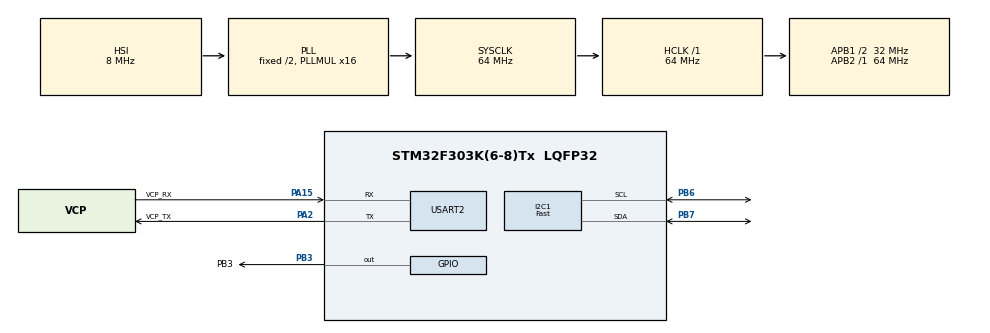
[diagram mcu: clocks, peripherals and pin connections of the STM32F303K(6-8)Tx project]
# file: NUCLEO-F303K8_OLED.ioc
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I2C1.I2C_Speed_Mode=I2C_Fast
I2C1.Timing=0x00602173
Mcu.Family=STM32F3
Mcu.Name=STM32F303K(6-8)Tx
Mcu.Package=LQFP32
NVIC.PriorityGroup=NVIC_PRIORITYGROUP_4
PA13.GPIO_Label=SWDIO
PA13.Mode=Serial_Wire
PA13.Signal=SYS_JTMS-SWDIO
PA14.GPIO_Label=SWCLK
PA14.Mode=Serial_Wire
PA14.Signal=SYS_JTCK-SWCLK
PA15.GPIO_Label=VCP_RX
PA15.Mode=Asynchronous
PA15.Signal=USART2_RX
PA2.GPIO_Label=VCP_TX
PA2.Mode=Asynchronous
PA2.Signal=USART2_TX
PB3.GPIO_Label=PB3
PB3.Signal=GPIO_Output
PB6.GPIO_Pu=GPIO_PULLUP
PB6.Mode=I2C
PB6.Signal=I2C1_SCL
PB7.GPIO_Pu=GPIO_PULLUP
PB7.Mode=I2C
PB7.Signal=I2C1_SDA
PF0\ /\ OSC_IN.GPIO_Label=MCO
PF0\ /\ OSC_IN.Mode=HSE-External-Clock-Source
PF0\ /\ OSC_IN.Signal=RCC_OSC_IN
ProjectManager.HeapSize=0x200
ProjectManager.StackSize=0x400
ProjectManager.TargetToolchain=STM32CubeIDE
RCC.AHBFreq_Value=64000000
RCC.APB1CLKDivider=RCC_HCLK_DIV2
RCC.APB1Freq_Value=32000000
RCC.APB1TimFreq_Value=64000000
RCC.APB2Freq_Value=64000000
RCC.APB2TimFreq_Value=64000000
RCC.CortexFreq_Value=64000000
RCC.HCLKFreq_Value=64000000
RCC.HSE_VALUE=8000000
RCC.HSI_VALUE=8000000
RCC.I2c1ClockSelection=RCC_I2C1CLKSOURCE_SYSCLK
RCC.PLLMUL=RCC_PLL_MUL16
RCC.SYSCLKFreq_VALUE=64000000
RCC.SYSCLKSourceVirtual=RCC_SYSCLKSOURCE_PLLCLK
USART2.VirtualMode-Asynchronous=VM_ASYNC
board=NUCLEO-F303K8

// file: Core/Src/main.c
/* USER CODE BEGIN Header */
/**
 ******************************************************************************
 * @file           : main.c
 * @brief          : Main program body
 ******************************************************************************
 * @attention
 *
 * <h2><center>&copy; Copyright (c) 2021 STMicroelectronics.
 * All rights reserved.</center></h2>
 *
 * This software component is licensed by ST under BSD 3-Clause license,
 * the "License"; You may not use this file except in compliance with the
 * License. You may obtain a copy of the License at:
 *                        opensource.org/licenses/BSD-3-Clause
 *
 ******************************************************************************
 */
/* USER CODE END Header */
#include "main.h"

/* USER CODE BEGIN Includes */

#include "SSD1306_I2C.h"

/* USER CODE END Includes */

I2C_HandleTypeDef hi2c1;

UART_HandleTypeDef huart2;

void SystemClock_Config(void);
static void MX_GPIO_Init(void);
static void MX_USART2_UART_Init(void);
static void MX_I2C1_Init(void);

int main(void)
{

  /* MCU Configuration--------------------------------------------------------*/

  /* Reset of all peripherals, Initializes the Flash interface and the Systick. */
  HAL_Init();

  /* Configure the system clock */
  SystemClock_Config();

  /* Initialize all configured peripherals */
  MX_GPIO_Init();
  MX_USART2_UART_Init();
  MX_I2C1_Init();
  /* USER CODE BEGIN 2 */
	OLED_Init();
  /* USER CODE END 2 */

  /* Infinite loop */
	while (1) {

    /* USER CODE BEGIN 3 */

		OLED_clear();

		for (int i = 0; i < 3; i++) {
			HAL_GPIO_WritePin(PB3_GPIO_Port, PB3_Pin, 1);
			HAL_Delay(100);
			HAL_GPIO_WritePin(PB3_GPIO_Port, PB3_Pin, 0);
			HAL_Delay(100);
		}

		//           12345678901234567890
		OLED_string6("   Booting...", 0, 0);
		HAL_Delay(2000);

		OLED_string6("    Nucleo", 0, 2);
		OLED_string6("      by HAL.", 0, 3);
		HAL_Delay(1000);

#if OLED_HEIGHT == 64
//            1234567890123456789
OLED_string6("  64 height version", 0, 5);

HAL_Delay(1000);
#endif

	}
  /* USER CODE END 3 */
}

void SystemClock_Config(void)
{
  RCC_OscInitTypeDef RCC_OscInitStruct = {0};
  RCC_ClkInitTypeDef RCC_ClkInitStruct = {0};
  RCC_PeriphCLKInitTypeDef PeriphClkInit = {0};

  /** Initializes the RCC Oscillators according to the specified parameters
  * in the RCC_OscInitTypeDef structure.
  */
  RCC_OscInitStruct.OscillatorType = RCC_OSCILLATORTYPE_HSI;
  RCC_OscInitStruct.HSIState = RCC_HSI_ON;
  RCC_OscInitStruct.HSICalibrationValue = RCC_HSICALIBRATION_DEFAULT;
  RCC_OscInitStruct.PLL.PLLState = RCC_PLL_ON;
  RCC_OscInitStruct.PLL.PLLSource = RCC_PLLSOURCE_HSI;
  RCC_OscInitStruct.PLL.PLLMUL = RCC_PLL_MUL16;
  if (HAL_RCC_OscConfig(&RCC_OscInitStruct) != HAL_OK)
  {
    Error_Handler();
  }
  /** Initializes the CPU, AHB and APB buses clocks
  */
  RCC_ClkInitStruct.ClockType = RCC_CLOCKTYPE_HCLK|RCC_CLOCKTYPE_SYSCLK
                              |RCC_CLOCKTYPE_PCLK1|RCC_CLOCKTYPE_PCLK2;
  RCC_ClkInitStruct.SYSCLKSource = RCC_SYSCLKSOURCE_PLLCLK;
  RCC_ClkInitStruct.AHBCLKDivider = RCC_SYSCLK_DIV1;
  RCC_ClkInitStruct.APB1CLKDivider = RCC_HCLK_DIV2;
  RCC_ClkInitStruct.APB2CLKDivider = RCC_HCLK_DIV1;

  if (HAL_RCC_ClockConfig(&RCC_ClkInitStruct, FLASH_LATENCY_2) != HAL_OK)
  {
    Error_Handler();
  }
  PeriphClkInit.PeriphClockSelection = RCC_PERIPHCLK_I2C1;
  PeriphClkInit.I2c1ClockSelection = RCC_I2C1CLKSOURCE_SYSCLK;
  if (HAL_RCCEx_PeriphCLKConfig(&PeriphClkInit) != HAL_OK)
  {
    Error_Handler();
  }
}

static void MX_I2C1_Init(void)
{

  hi2c1.Instance = I2C1;
  hi2c1.Init.Timing = 0x00602173;
  hi2c1.Init.OwnAddress1 = 0;
  hi2c1.Init.AddressingMode = I2C_ADDRESSINGMODE_7BIT;
  hi2c1.Init.DualAddressMode = I2C_DUALADDRESS_DISABLE;
  hi2c1.Init.OwnAddress2 = 0;
  hi2c1.Init.OwnAddress2Masks = I2C_OA2_NOMASK;
  hi2c1.Init.GeneralCallMode = I2C_GENERALCALL_DISABLE;
  hi2c1.Init.NoStretchMode = I2C_NOSTRETCH_DISABLE;
  if (HAL_I2C_Init(&hi2c1) != HAL_OK)
  {
    Error_Handler();
  }
  /** Configure Analogue filter
  */
  if (HAL_I2CEx_ConfigAnalogFilter(&hi2c1, I2C_ANALOGFILTER_ENABLE) != HAL_OK)
  {
    Error_Handler();
  }
  /** Configure Digital filter
  */
  if (HAL_I2CEx_ConfigDigitalFilter(&hi2c1, 0) != HAL_OK)
  {
    Error_Handler();
  }

}

static void MX_USART2_UART_Init(void)
{

  huart2.Instance = USART2;
  huart2.Init.BaudRate = 38400;
  huart2.Init.WordLength = UART_WORDLENGTH_8B;
  huart2.Init.StopBits = UART_STOPBITS_1;
  huart2.Init.Parity = UART_PARITY_NONE;
  huart2.Init.Mode = UART_MODE_TX_RX;
  huart2.Init.HwFlowCtl = UART_HWCONTROL_NONE;
  huart2.Init.OverSampling = UART_OVERSAMPLING_16;
  huart2.Init.OneBitSampling = UART_ONE_BIT_SAMPLE_DISABLE;
  huart2.AdvancedInit.AdvFeatureInit = UART_ADVFEATURE_NO_INIT;
  if (HAL_UART_Init(&huart2) != HAL_OK)
  {
    Error_Handler();
  }

}

static void MX_GPIO_Init(void)
{
  GPIO_InitTypeDef GPIO_InitStruct = {0};

  /* GPIO Ports Clock Enable */
  __HAL_RCC_GPIOF_CLK_ENABLE();
  __HAL_RCC_GPIOA_CLK_ENABLE();
  __HAL_RCC_GPIOB_CLK_ENABLE();

  /*Configure GPIO pin Output Level */
  HAL_GPIO_WritePin(PB3_GPIO_Port, PB3_Pin, GPIO_PIN_RESET);

  /*Configure GPIO pin : PB3_Pin */
  GPIO_InitStruct.Pin = PB3_Pin;
  GPIO_InitStruct.Mode = GPIO_MODE_OUTPUT_PP;
  GPIO_InitStruct.Pull = GPIO_NOPULL;
  GPIO_InitStruct.Speed = GPIO_SPEED_FREQ_LOW;
  HAL_GPIO_Init(PB3_GPIO_Port, &GPIO_InitStruct);

}

void Error_Handler(void)
{
	__disable_irq();
	while (1) {
	}
}

/************************ (C) COPYRIGHT STMicroelectronics *****END OF FILE****/
